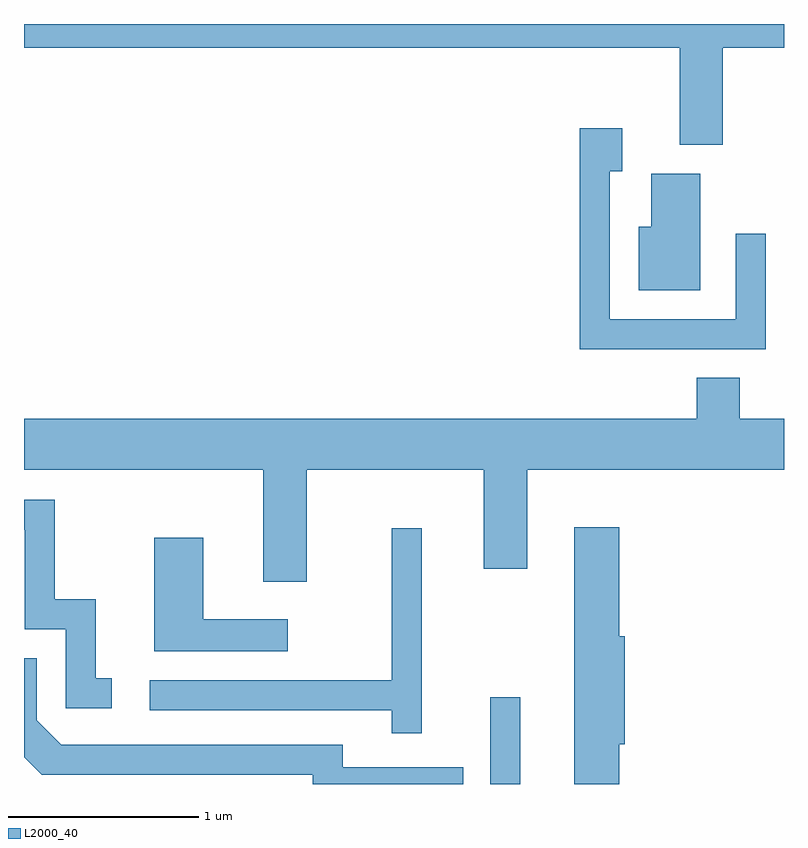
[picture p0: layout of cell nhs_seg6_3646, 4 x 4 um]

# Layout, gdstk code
import gdstk
lib = gdstk.Library(unit=1e-6, precision=1e-09)
def R(c, l, rs):  # rectangles x0, y0, x1, y1
    for r in rs: c.add(gdstk.rectangle(r[:2], r[2:], *l))
def P(c, l, *ps):  # polygons
    for p in ps: c.add(gdstk.Polygon(p, *l))
L2000_40 = (2000, 40)

nhs_seg6_3646 = lib.new_cell('nhs_seg6_3646')
R(nhs_seg6_3646, L2000_40, [(298.066,1546.162,298.224,1546.618)])
P(nhs_seg6_3646, L2000_40, [(299.289,1550.036),(299.611,1550.036),(299.611,1550.162),(295.611,1550.162),(295.611,1550.036),(299.061,1550.036),(299.061,1549.526),(299.289,1549.526)],
  [(299.514,1549.058),(299.356,1549.058),(299.356,1548.609),(298.694,1548.609),(298.694,1549.386),(298.759,1549.386),(298.759,1549.614),(298.536,1549.614),(298.536,1548.451),(299.514,1548.451)],
  [(299.169,1549.374),(298.911,1549.374),(298.911,1549.094),(298.846,1549.094),(298.846,1548.761),(299.169,1548.761)],
  [(297.099,1547.816),(298.031,1547.816),(298.031,1547.296),(298.259,1547.296),(298.259,1547.816),(299.611,1547.816),(299.611,1548.084),(299.379,1548.084),(299.379,1548.299),(299.151,1548.299),(299.151,1548.084),(295.611,1548.084),(295.611,1547.816),(296.871,1547.816),(296.871,1547.226),(297.099,1547.226)],
  [(296.073,1546.719),(295.989,1546.719),(295.989,1547.134),(295.774,1547.134),(295.774,1547.659),(295.611,1547.659),(295.611,1547.501),(295.616,1547.501),(295.616,1546.976),(295.831,1546.976),(295.831,1546.561),(296.073,1546.561)],
  [(298.744,1546.371),(298.774,1546.371),(298.774,1546.939),(298.744,1546.939),(298.744,1547.514),(298.506,1547.514),(298.506,1546.162),(298.744,1546.162)],
  [(297.704,1547.508),(297.546,1547.508),(297.546,1546.709),(296.273,1546.709),(296.273,1546.551),(297.546,1546.551),(297.546,1546.428),(297.704,1546.428)],
  [(296.998,1547.029),(296.554,1547.029),(296.554,1547.459),(296.296,1547.459),(296.296,1546.861),(296.998,1546.861)],
  [(297.923,1546.249),(297.289,1546.249),(297.289,1546.369),(295.807,1546.369),(295.679,1546.497),(295.679,1546.824),(295.611,1546.824),(295.611,1546.304),(295.704,1546.211),(297.131,1546.211),(297.131,1546.162),(297.923,1546.162)])

lib.write_gds('nhs_seg6_3646.gds')
